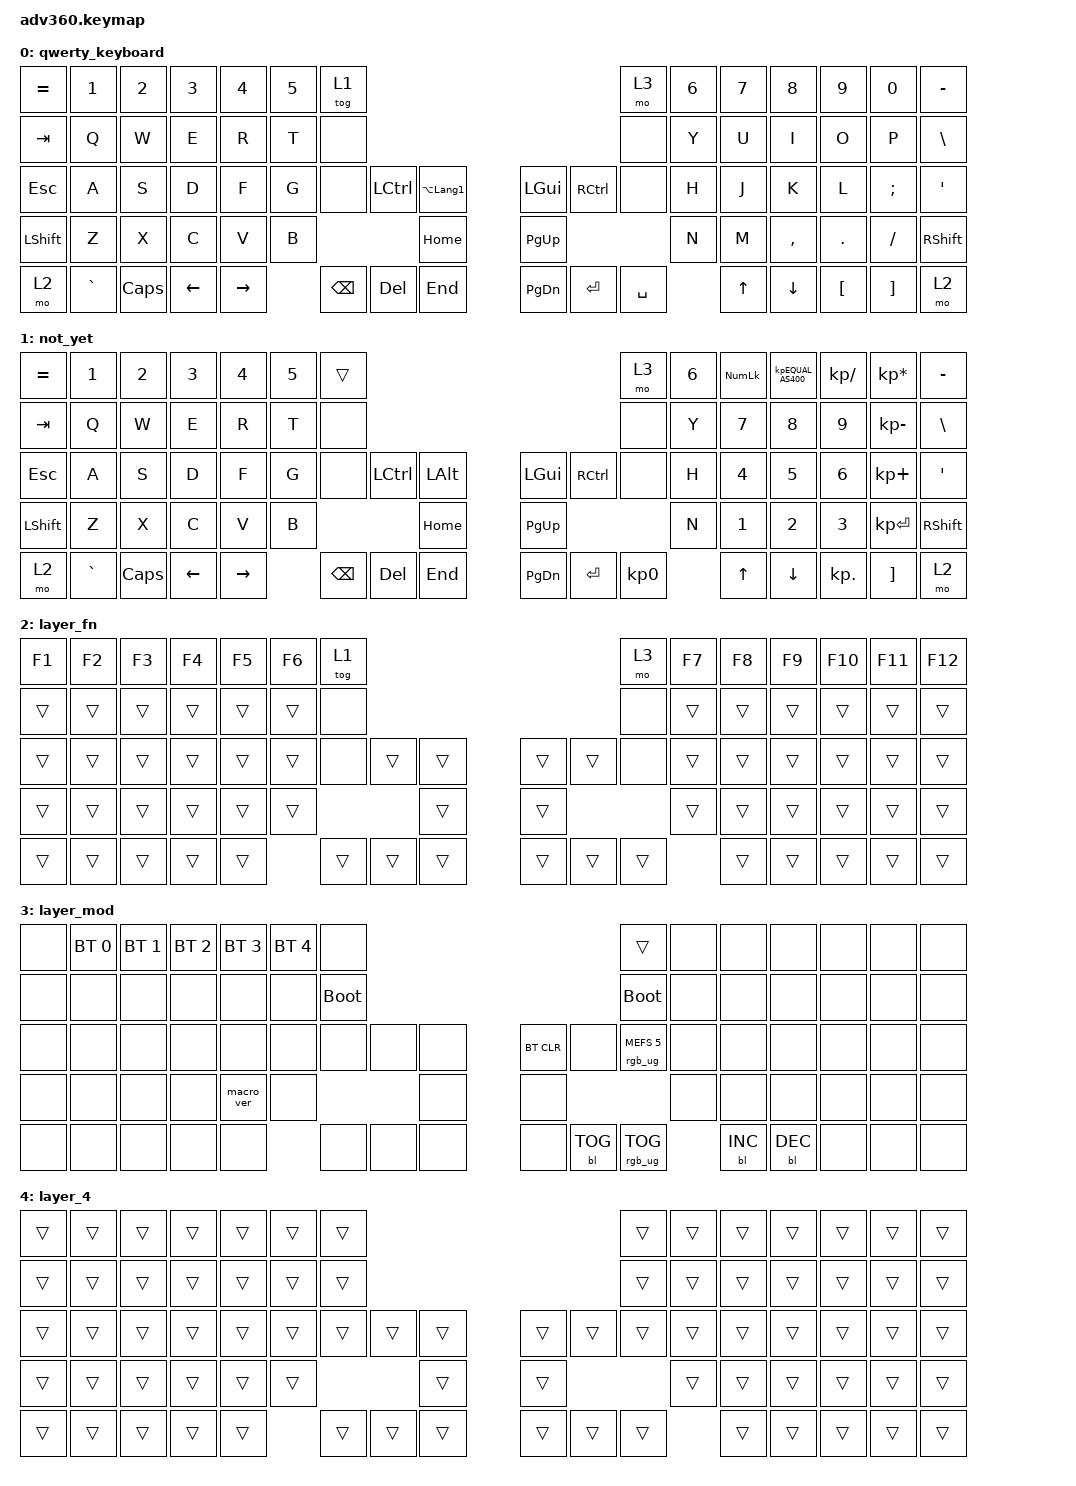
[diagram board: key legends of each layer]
/*
 * Copyright (c) 2020 The ZMK Contributors
 *
 * SPDX-License-Identifier: MIT
 */
/* THIS FILE WAS GENERATED!
 *
 * This file was generated automatically. You may or may not want to
 * edit it directly.
 */

#include <behaviors.dtsi>
#include <dt-bindings/zmk/backlight.h>
#include <dt-bindings/zmk/bt.h>
#include <dt-bindings/zmk/keys.h>
#include <dt-bindings/zmk/rgb.h>

/ {
    behaviors {
        #include "macros.dtsi"
    #include "version.dtsi"

        hm: homerow_mods {
            compatible = "zmk,behavior-hold-tap";
            label = "HOMEROW_MODS";
            #binding-cells = <2>;
            tapping-term-ms = <200>;
            quick_tap_ms = <175>;
            flavor = "tap-preferred";
            bindings = <&kp>, <&kp>;
        };
    };

    keymap {
        compatible = "zmk,keymap";

        qwerty_keyboard {
            bindings = <
&kp EQUAL  &kp N1     &kp N2    &kp N3    &kp N4     &kp N5  &tog 1                                                             &mo 3      &kp NUMBER_6  &kp NUMBER_7  &kp NUMBER_8  &kp N9    &kp N0    &kp MINUS
&kp TAB    &kp Q      &kp W     &kp E     &kp R      &kp T   &none                                                              &none      &kp Y         &kp U         &kp I         &kp O     &kp P     &kp BSLH
&kp ESC    &kp A      &kp S     &kp D     &kp F      &kp G   &none     &kp LCTRL  &kp LA(LANGUAGE_1)      &kp LGUI   &kp RCTRL  &none      &kp H         &kp J         &kp K         &kp L     &kp SEMI  &kp SQT
&kp LSHFT  &kp Z      &kp X     &kp C     &kp V      &kp B                        &kp HOME                &kp PG_UP                        &kp N         &kp M         &kp COMMA     &kp DOT   &kp FSLH  &kp RSHFT
&mo 2      &kp GRAVE  &kp CAPS  &kp LEFT  &kp RIGHT          &kp BSPC  &kp DEL    &kp END                 &kp PG_DN  &kp ENTER  &kp SPACE                &kp UP        &kp DOWN      &kp LBKT  &kp RBKT  &mo 2
            >;
        };

        not_yet {
            bindings = <
&kp EQUAL  &kp N1     &kp N2    &kp N3    &kp N4     &kp N5  &trans                                                       &mo 3            &kp N6  &kp KP_NUM    &kp KP_EQUAL_AS400  &kp KP_SLASH  &kp KP_MULTIPLY  &kp MINUS
&kp TAB    &kp Q      &kp W     &kp E     &kp R      &kp T   &none                                                        &none            &kp Y   &kp NUMBER_7  &kp N8              &kp N9        &kp KP_MINUS     &kp BACKSLASH
&kp ESC    &kp A      &kp S     &kp D     &kp F      &kp G   &none     &kp LCTRL  &kp LEFT_ALT      &kp LGUI   &kp RCTRL  &none            &kp H   &kp NUMBER_4  &kp N5              &kp NUMBER_6  &kp KP_PLUS      &kp SQT
&kp LSHFT  &kp Z      &kp X     &kp C     &kp V      &kp B                        &kp HOME          &kp PG_UP                              &kp N   &kp NUMBER_1  &kp NUMBER_2        &kp NUMBER_3  &kp KP_ENTER     &kp RSHFT
&mo 2      &kp GRAVE  &kp CAPS  &kp LEFT  &kp RIGHT          &kp BSPC  &kp DEL    &kp END           &kp PG_DN  &kp ENTER  &kp KP_NUMBER_0          &kp UP        &kp DOWN            &kp KP_DOT    &kp RBKT         &mo 2
            >;
        };

        layer_fn {
            bindings = <
&kp F1  &kp F2  &kp F3  &kp F4  &kp F5  &kp F6  &tog 1                                      &mo 3   &kp F7  &kp F8  &kp F9  &kp F10  &kp F11  &kp F12
&trans  &trans  &trans  &trans  &trans  &trans  &none                                       &none   &trans  &trans  &trans  &trans   &trans   &trans
&trans  &trans  &trans  &trans  &trans  &trans  &none   &trans  &trans      &trans  &trans  &none   &trans  &trans  &trans  &trans   &trans   &trans
&trans  &trans  &trans  &trans  &trans  &trans                  &trans      &trans                  &trans  &trans  &trans  &trans   &trans   &trans
&trans  &trans  &trans  &trans  &trans          &trans  &trans  &trans      &trans  &trans  &trans          &trans  &trans  &trans   &trans   &trans
            >;
        };

        layer_mod {
            bindings = <
&none  &bt BT_SEL 0  &bt BT_SEL 1  &bt BT_SEL 2  &bt BT_SEL 3  &bt BT_SEL 4  &none                                                  &trans                  &none  &none       &none       &none  &none  &none
&none  &none         &none         &none         &none         &none         &bootloader                                            &bootloader             &none  &none       &none       &none  &none  &none
&none  &none         &none         &none         &none         &none         &none        &none  &none      &bt BT_CLR  &none       &rgb_ug RGB_MEFS_CMD 5  &none  &none       &none       &none  &none  &none
&none  &none         &none         &none         &macro_ver    &none                             &none      &none                                           &none  &none       &none       &none  &none  &none
&none  &none         &none         &none         &none                       &none        &none  &none      &none       &bl BL_TOG  &rgb_ug RGB_TOG                &bl BL_INC  &bl BL_DEC  &none  &none  &none
            >;
        };

        layer_4 {
            bindings = <
&trans  &trans  &trans  &trans  &trans  &trans  &trans                                      &trans  &trans  &trans  &trans  &trans  &trans  &trans
&trans  &trans  &trans  &trans  &trans  &trans  &trans                                      &trans  &trans  &trans  &trans  &trans  &trans  &trans
&trans  &trans  &trans  &trans  &trans  &trans  &trans  &trans  &trans      &trans  &trans  &trans  &trans  &trans  &trans  &trans  &trans  &trans
&trans  &trans  &trans  &trans  &trans  &trans                  &trans      &trans                  &trans  &trans  &trans  &trans  &trans  &trans
&trans  &trans  &trans  &trans  &trans          &trans  &trans  &trans      &trans  &trans  &trans          &trans  &trans  &trans  &trans  &trans
            >;
        };
    };
};
